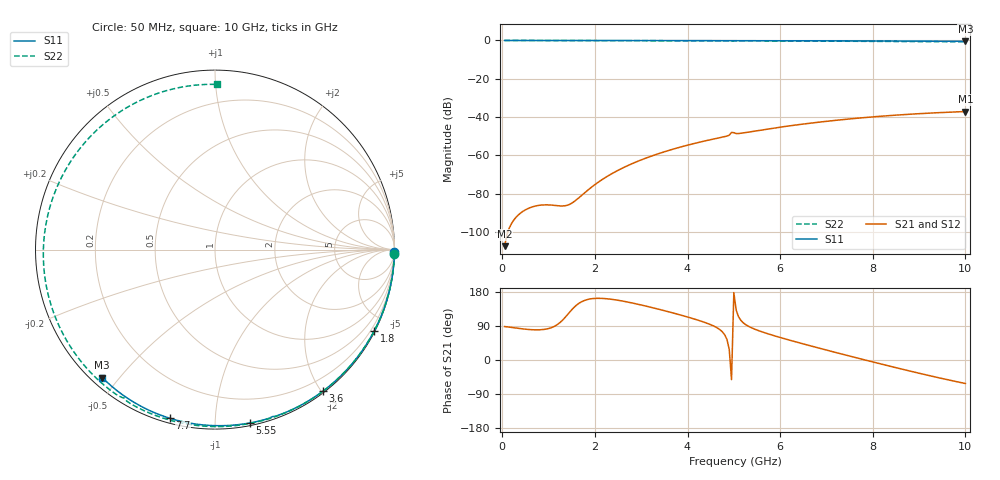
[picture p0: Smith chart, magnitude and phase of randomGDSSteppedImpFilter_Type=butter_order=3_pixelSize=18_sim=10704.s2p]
! freq	dB(S11)	phase(S11)	dB(S12)	phase(S12)
!  dB(S21)	phase(S21)	dB(S22)	phase(S22)
!S-par simulation data
#  GHz  S  DB  R 50
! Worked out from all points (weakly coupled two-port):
!   200 points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, 50 MHz to 10 GHz, reference 50 ohm
!   highest |S21| = -37.09 dB at 10 GHz (marker M1); lowest = -107.3 dB at 50 MHz (marker M2)
!   lowest |S11| = -0.4 dB at 10 GHz (marker M3), VSWR 39.05, Z = 1.54 - j22.6 ohm
!   |S11| at or under -10 dB: nowhere
!   |S22| runs from -0.7 to 0.0 dB; largest |S21 - S12| = 0
!   S11 on the Smith chart (normalised r, x): 50 MHz: open; 1.8 GHz: 0.04, -4.18; 3.6 GHz: 0.02, -2.02; 5.55 GHz: 0.02, -1.22; 7.7 GHz: 0.02, -0.77; 10 GHz: 0.03, -0.45
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0.05  -0.00 -0.8  -107.33 88.2  -107.33 88.2  -0.00 -1.3
0.85  -0.02 -12.8  -85.86 80.0  -85.86 80.0  -0.03 -21.9
1.75  -0.03 -26.2  -80.08 155.9  -80.08 155.9  -0.06 -44.6
1.8  -0.03 -26.9  -79.04 158.2  -79.04 158.2  -0.06 -45.8
2.15  -0.04 -32.0  -72.68 162.6  -72.68 162.6  -0.07 -54.5
2.5  -0.05 -37.1  -67.74 157.6  -67.74 157.6  -0.08 -63.0
2.9  -0.06 -42.8  -63.29 147.9  -63.29 147.9  -0.09 -72.7
3.4  -0.07 -49.9  -58.86 133.3  -58.86 133.3  -0.11 -84.7
3.6  -0.07 -52.7  -57.34 127.0  -57.34 127.0  -0.12 -89.4
4.25  -0.09 -61.6  -53.13 104.2  -53.13 104.2  -0.15 -104.7
4.85  -0.11 -69.6  -49.90 54.7  -49.90 54.7  -0.19 -119.0
4.95  -0.14 -71.0  -47.99 -51.8  -47.99 -51.8  -0.27 -121.4
5.05  -0.12 -72.1  -48.58 132.0  -48.58 132.0  -0.21 -123.3
5.55  -0.13 -78.6  -46.88 76.8  -46.88 76.8  -0.23 -135.3
6.7  -0.18 -93.0  -43.02 35.9  -43.02 35.9  -0.33 -163.9
7.2  -0.21 -99.1  -41.67 19.8  -41.67 19.8  -0.38 -177.2
7.7  -0.24 -105.0  -40.50 4.1  -40.50 4.1  -0.43 168.8
8.35  -0.29 -112.6  -39.22 -15.8  -39.22 -15.8  -0.51 148.9
8.8  -0.33 -117.8  -38.49 -29.1  -38.49 -29.1  -0.57 134.0
9.25  -0.37 -122.9  -37.88 -42.0  -37.88 -42.0  -0.63 118.1
9.65  -0.41 -127.4  -37.43 -53.0  -37.43 -53.0  -0.68 103.0
10  -0.44 -131.4  -37.09 -62.1  -37.09 -62.1  -0.72 89.2
